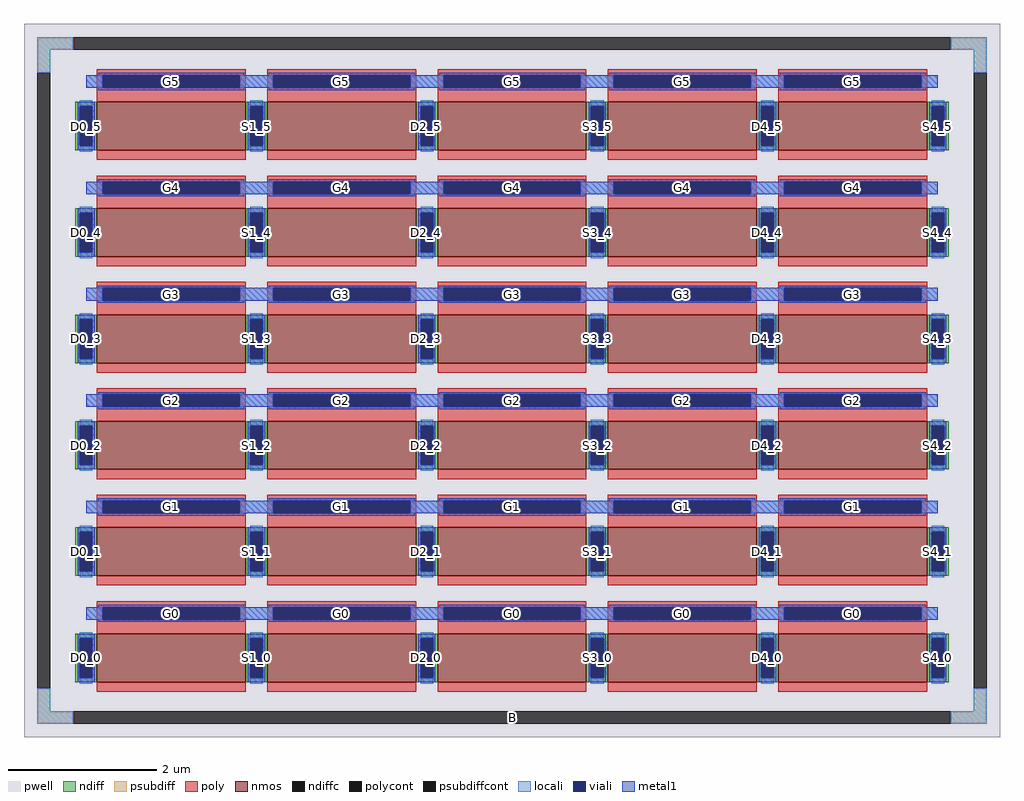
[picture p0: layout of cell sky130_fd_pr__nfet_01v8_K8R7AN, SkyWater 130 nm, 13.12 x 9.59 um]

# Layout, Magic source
magic
tech sky130A
magscale 1 2
<< pwell >>
rect -1312 -959 1312 959
<< nmos >>
rect -1116 619 -716 749
rect -658 619 -258 749
rect -200 619 200 749
rect 258 619 658 749
rect 716 619 1116 749
rect -1116 333 -716 463
rect -658 333 -258 463
rect -200 333 200 463
rect 258 333 658 463
rect 716 333 1116 463
rect -1116 47 -716 177
rect -658 47 -258 177
rect -200 47 200 177
rect 258 47 658 177
rect 716 47 1116 177
rect -1116 -239 -716 -109
rect -658 -239 -258 -109
rect -200 -239 200 -109
rect 258 -239 658 -109
rect 716 -239 1116 -109
rect -1116 -525 -716 -395
rect -658 -525 -258 -395
rect -200 -525 200 -395
rect 258 -525 658 -395
rect 716 -525 1116 -395
rect -1116 -811 -716 -681
rect -658 -811 -258 -681
rect -200 -811 200 -681
rect 258 -811 658 -681
rect 716 -811 1116 -681
<< ndiff >>
rect -1174 737 -1116 749
rect -1174 631 -1162 737
rect -1128 631 -1116 737
rect -1174 619 -1116 631
rect -716 737 -658 749
rect -716 631 -704 737
rect -670 631 -658 737
rect -716 619 -658 631
rect -258 737 -200 749
rect -258 631 -246 737
rect -212 631 -200 737
rect -258 619 -200 631
rect 200 737 258 749
rect 200 631 212 737
rect 246 631 258 737
rect 200 619 258 631
rect 658 737 716 749
rect 658 631 670 737
rect 704 631 716 737
rect 658 619 716 631
rect 1116 737 1174 749
rect 1116 631 1128 737
rect 1162 631 1174 737
rect 1116 619 1174 631
rect -1174 451 -1116 463
rect -1174 345 -1162 451
rect -1128 345 -1116 451
rect -1174 333 -1116 345
rect -716 451 -658 463
rect -716 345 -704 451
rect -670 345 -658 451
rect -716 333 -658 345
rect -258 451 -200 463
rect -258 345 -246 451
rect -212 345 -200 451
rect -258 333 -200 345
rect 200 451 258 463
rect 200 345 212 451
rect 246 345 258 451
rect 200 333 258 345
rect 658 451 716 463
rect 658 345 670 451
rect 704 345 716 451
rect 658 333 716 345
rect 1116 451 1174 463
rect 1116 345 1128 451
rect 1162 345 1174 451
rect 1116 333 1174 345
rect -1174 165 -1116 177
rect -1174 59 -1162 165
rect -1128 59 -1116 165
rect -1174 47 -1116 59
rect -716 165 -658 177
rect -716 59 -704 165
rect -670 59 -658 165
rect -716 47 -658 59
rect -258 165 -200 177
rect -258 59 -246 165
rect -212 59 -200 165
rect -258 47 -200 59
rect 200 165 258 177
rect 200 59 212 165
rect 246 59 258 165
rect 200 47 258 59
rect 658 165 716 177
rect 658 59 670 165
rect 704 59 716 165
rect 658 47 716 59
rect 1116 165 1174 177
rect 1116 59 1128 165
rect 1162 59 1174 165
rect 1116 47 1174 59
rect -1174 -121 -1116 -109
rect -1174 -227 -1162 -121
rect -1128 -227 -1116 -121
rect -1174 -239 -1116 -227
rect -716 -121 -658 -109
rect -716 -227 -704 -121
rect -670 -227 -658 -121
rect -716 -239 -658 -227
rect -258 -121 -200 -109
rect -258 -227 -246 -121
rect -212 -227 -200 -121
rect -258 -239 -200 -227
rect 200 -121 258 -109
rect 200 -227 212 -121
rect 246 -227 258 -121
rect 200 -239 258 -227
rect 658 -121 716 -109
rect 658 -227 670 -121
rect 704 -227 716 -121
rect 658 -239 716 -227
rect 1116 -121 1174 -109
rect 1116 -227 1128 -121
rect 1162 -227 1174 -121
rect 1116 -239 1174 -227
rect -1174 -407 -1116 -395
rect -1174 -513 -1162 -407
rect -1128 -513 -1116 -407
rect -1174 -525 -1116 -513
rect -716 -407 -658 -395
rect -716 -513 -704 -407
rect -670 -513 -658 -407
rect -716 -525 -658 -513
rect -258 -407 -200 -395
rect -258 -513 -246 -407
rect -212 -513 -200 -407
rect -258 -525 -200 -513
rect 200 -407 258 -395
rect 200 -513 212 -407
rect 246 -513 258 -407
rect 200 -525 258 -513
rect 658 -407 716 -395
rect 658 -513 670 -407
rect 704 -513 716 -407
rect 658 -525 716 -513
rect 1116 -407 1174 -395
rect 1116 -513 1128 -407
rect 1162 -513 1174 -407
rect 1116 -525 1174 -513
rect -1174 -693 -1116 -681
rect -1174 -799 -1162 -693
rect -1128 -799 -1116 -693
rect -1174 -811 -1116 -799
rect -716 -693 -658 -681
rect -716 -799 -704 -693
rect -670 -799 -658 -693
rect -716 -811 -658 -799
rect -258 -693 -200 -681
rect -258 -799 -246 -693
rect -212 -799 -200 -693
rect -258 -811 -200 -799
rect 200 -693 258 -681
rect 200 -799 212 -693
rect 246 -799 258 -693
rect 200 -811 258 -799
rect 658 -693 716 -681
rect 658 -799 670 -693
rect 704 -799 716 -693
rect 658 -811 716 -799
rect 1116 -693 1174 -681
rect 1116 -799 1128 -693
rect 1162 -799 1174 -693
rect 1116 -811 1174 -799
<< ndiffc >>
rect -1162 631 -1128 737
rect -704 631 -670 737
rect -246 631 -212 737
rect 212 631 246 737
rect 670 631 704 737
rect 1128 631 1162 737
rect -1162 345 -1128 451
rect -704 345 -670 451
rect -246 345 -212 451
rect 212 345 246 451
rect 670 345 704 451
rect 1128 345 1162 451
rect -1162 59 -1128 165
rect -704 59 -670 165
rect -246 59 -212 165
rect 212 59 246 165
rect 670 59 704 165
rect 1128 59 1162 165
rect -1162 -227 -1128 -121
rect -704 -227 -670 -121
rect -246 -227 -212 -121
rect 212 -227 246 -121
rect 670 -227 704 -121
rect 1128 -227 1162 -121
rect -1162 -513 -1128 -407
rect -704 -513 -670 -407
rect -246 -513 -212 -407
rect 212 -513 246 -407
rect 670 -513 704 -407
rect 1128 -513 1162 -407
rect -1162 -799 -1128 -693
rect -704 -799 -670 -693
rect -246 -799 -212 -693
rect 212 -799 246 -693
rect 670 -799 704 -693
rect 1128 -799 1162 -693
<< psubdiff >>
rect -1276 889 -1180 923
rect 1180 889 1276 923
rect -1276 827 -1242 889
rect 1242 827 1276 889
rect -1276 -889 -1242 -827
rect 1242 -889 1276 -827
rect -1276 -923 -1180 -889
rect 1180 -923 1276 -889
<< psubdiffcont >>
rect -1180 889 1180 923
rect -1276 -827 -1242 827
rect 1242 -827 1276 827
rect -1180 -923 1180 -889
<< poly >>
rect -1116 821 -716 837
rect -1116 787 -1100 821
rect -732 787 -716 821
rect -1116 749 -716 787
rect -658 821 -258 837
rect -658 787 -642 821
rect -274 787 -258 821
rect -658 749 -258 787
rect -200 821 200 837
rect -200 787 -184 821
rect 184 787 200 821
rect -200 749 200 787
rect 258 821 658 837
rect 258 787 274 821
rect 642 787 658 821
rect 258 749 658 787
rect 716 821 1116 837
rect 716 787 732 821
rect 1100 787 1116 821
rect 716 749 1116 787
rect -1116 593 -716 619
rect -658 593 -258 619
rect -200 593 200 619
rect 258 593 658 619
rect 716 593 1116 619
rect -1116 535 -716 551
rect -1116 501 -1100 535
rect -732 501 -716 535
rect -1116 463 -716 501
rect -658 535 -258 551
rect -658 501 -642 535
rect -274 501 -258 535
rect -658 463 -258 501
rect -200 535 200 551
rect -200 501 -184 535
rect 184 501 200 535
rect -200 463 200 501
rect 258 535 658 551
rect 258 501 274 535
rect 642 501 658 535
rect 258 463 658 501
rect 716 535 1116 551
rect 716 501 732 535
rect 1100 501 1116 535
rect 716 463 1116 501
rect -1116 307 -716 333
rect -658 307 -258 333
rect -200 307 200 333
rect 258 307 658 333
rect 716 307 1116 333
rect -1116 249 -716 265
rect -1116 215 -1100 249
rect -732 215 -716 249
rect -1116 177 -716 215
rect -658 249 -258 265
rect -658 215 -642 249
rect -274 215 -258 249
rect -658 177 -258 215
rect -200 249 200 265
rect -200 215 -184 249
rect 184 215 200 249
rect -200 177 200 215
rect 258 249 658 265
rect 258 215 274 249
rect 642 215 658 249
rect 258 177 658 215
rect 716 249 1116 265
rect 716 215 732 249
rect 1100 215 1116 249
rect 716 177 1116 215
rect -1116 21 -716 47
rect -658 21 -258 47
rect -200 21 200 47
rect 258 21 658 47
rect 716 21 1116 47
rect -1116 -37 -716 -21
rect -1116 -71 -1100 -37
rect -732 -71 -716 -37
rect -1116 -109 -716 -71
rect -658 -37 -258 -21
rect -658 -71 -642 -37
rect -274 -71 -258 -37
rect -658 -109 -258 -71
rect -200 -37 200 -21
rect -200 -71 -184 -37
rect 184 -71 200 -37
rect -200 -109 200 -71
rect 258 -37 658 -21
rect 258 -71 274 -37
rect 642 -71 658 -37
rect 258 -109 658 -71
rect 716 -37 1116 -21
rect 716 -71 732 -37
rect 1100 -71 1116 -37
rect 716 -109 1116 -71
rect -1116 -265 -716 -239
rect -658 -265 -258 -239
rect -200 -265 200 -239
rect 258 -265 658 -239
rect 716 -265 1116 -239
rect -1116 -323 -716 -307
rect -1116 -357 -1100 -323
rect -732 -357 -716 -323
rect -1116 -395 -716 -357
rect -658 -323 -258 -307
rect -658 -357 -642 -323
rect -274 -357 -258 -323
rect -658 -395 -258 -357
rect -200 -323 200 -307
rect -200 -357 -184 -323
rect 184 -357 200 -323
rect -200 -395 200 -357
rect 258 -323 658 -307
rect 258 -357 274 -323
rect 642 -357 658 -323
rect 258 -395 658 -357
rect 716 -323 1116 -307
rect 716 -357 732 -323
rect 1100 -357 1116 -323
rect 716 -395 1116 -357
rect -1116 -551 -716 -525
rect -658 -551 -258 -525
rect -200 -551 200 -525
rect 258 -551 658 -525
rect 716 -551 1116 -525
rect -1116 -609 -716 -593
rect -1116 -643 -1100 -609
rect -732 -643 -716 -609
rect -1116 -681 -716 -643
rect -658 -609 -258 -593
rect -658 -643 -642 -609
rect -274 -643 -258 -609
rect -658 -681 -258 -643
rect -200 -609 200 -593
rect -200 -643 -184 -609
rect 184 -643 200 -609
rect -200 -681 200 -643
rect 258 -609 658 -593
rect 258 -643 274 -609
rect 642 -643 658 -609
rect 258 -681 658 -643
rect 716 -609 1116 -593
rect 716 -643 732 -609
rect 1100 -643 1116 -609
rect 716 -681 1116 -643
rect -1116 -837 -716 -811
rect -658 -837 -258 -811
rect -200 -837 200 -811
rect 258 -837 658 -811
rect 716 -837 1116 -811
<< polycont >>
rect -1100 787 -732 821
rect -642 787 -274 821
rect -184 787 184 821
rect 274 787 642 821
rect 732 787 1100 821
rect -1100 501 -732 535
rect -642 501 -274 535
rect -184 501 184 535
rect 274 501 642 535
rect 732 501 1100 535
rect -1100 215 -732 249
rect -642 215 -274 249
rect -184 215 184 249
rect 274 215 642 249
rect 732 215 1100 249
rect -1100 -71 -732 -37
rect -642 -71 -274 -37
rect -184 -71 184 -37
rect 274 -71 642 -37
rect 732 -71 1100 -37
rect -1100 -357 -732 -323
rect -642 -357 -274 -323
rect -184 -357 184 -323
rect 274 -357 642 -323
rect 732 -357 1100 -323
rect -1100 -643 -732 -609
rect -642 -643 -274 -609
rect -184 -643 184 -609
rect 274 -643 642 -609
rect 732 -643 1100 -609
<< locali >>
rect -1276 889 -1180 923
rect 1180 889 1276 923
rect -1276 827 -1242 889
rect 1242 827 1276 889
rect -1145 787 -1100 821
rect -732 787 -642 821
rect -274 787 -184 821
rect 184 787 274 821
rect 642 787 732 821
rect 1100 787 1145 821
rect -1162 737 -1128 753
rect -1162 615 -1128 631
rect -704 737 -670 753
rect -704 615 -670 631
rect -246 737 -212 753
rect -246 615 -212 631
rect 212 737 246 753
rect 212 615 246 631
rect 670 737 704 753
rect 670 615 704 631
rect 1128 737 1162 753
rect 1128 615 1162 631
rect -1145 501 -1100 535
rect -732 501 -642 535
rect -274 501 -184 535
rect 184 501 274 535
rect 642 501 732 535
rect 1100 501 1145 535
rect -1162 451 -1128 467
rect -1162 329 -1128 345
rect -704 451 -670 467
rect -704 329 -670 345
rect -246 451 -212 467
rect -246 329 -212 345
rect 212 451 246 467
rect 212 329 246 345
rect 670 451 704 467
rect 670 329 704 345
rect 1128 451 1162 467
rect 1128 329 1162 345
rect -1145 215 -1100 249
rect -732 215 -642 249
rect -274 215 -184 249
rect 184 215 274 249
rect 642 215 732 249
rect 1100 215 1145 249
rect -1162 165 -1128 181
rect -1162 43 -1128 59
rect -704 165 -670 181
rect -704 43 -670 59
rect -246 165 -212 181
rect -246 43 -212 59
rect 212 165 246 181
rect 212 43 246 59
rect 670 165 704 181
rect 670 43 704 59
rect 1128 165 1162 181
rect 1128 43 1162 59
rect -1145 -71 -1100 -37
rect -732 -71 -642 -37
rect -274 -71 -184 -37
rect 184 -71 274 -37
rect 642 -71 732 -37
rect 1100 -71 1145 -37
rect -1162 -121 -1128 -105
rect -1162 -243 -1128 -227
rect -704 -121 -670 -105
rect -704 -243 -670 -227
rect -246 -121 -212 -105
rect -246 -243 -212 -227
rect 212 -121 246 -105
rect 212 -243 246 -227
rect 670 -121 704 -105
rect 670 -243 704 -227
rect 1128 -121 1162 -105
rect 1128 -243 1162 -227
rect -1145 -357 -1100 -323
rect -732 -357 -642 -323
rect -274 -357 -184 -323
rect 184 -357 274 -323
rect 642 -357 732 -323
rect 1100 -357 1145 -323
rect -1162 -407 -1128 -391
rect -1162 -529 -1128 -513
rect -704 -407 -670 -391
rect -704 -529 -670 -513
rect -246 -407 -212 -391
rect -246 -529 -212 -513
rect 212 -407 246 -391
rect 212 -529 246 -513
rect 670 -407 704 -391
rect 670 -529 704 -513
rect 1128 -407 1162 -391
rect 1128 -529 1162 -513
rect -1145 -643 -1100 -609
rect -732 -643 -642 -609
rect -274 -643 -184 -609
rect 184 -643 274 -609
rect 642 -643 732 -609
rect 1100 -643 1145 -609
rect -1162 -693 -1128 -677
rect -1162 -815 -1128 -799
rect -704 -693 -670 -677
rect -704 -815 -670 -799
rect -246 -693 -212 -677
rect -246 -815 -212 -799
rect 212 -693 246 -677
rect 212 -815 246 -799
rect 670 -693 704 -677
rect 670 -815 704 -799
rect 1128 -693 1162 -677
rect 1128 -815 1162 -799
rect -1276 -889 -1242 -827
rect 1242 -889 1276 -827
rect -1276 -923 -1180 -889
rect 1180 -923 1276 -889
<< viali >>
rect -1100 787 -732 821
rect -642 787 -274 821
rect -184 787 184 821
rect 274 787 642 821
rect 732 787 1100 821
rect -1162 631 -1128 737
rect -704 631 -670 737
rect -246 631 -212 737
rect 212 631 246 737
rect 670 631 704 737
rect 1128 631 1162 737
rect -1100 501 -732 535
rect -642 501 -274 535
rect -184 501 184 535
rect 274 501 642 535
rect 732 501 1100 535
rect -1162 345 -1128 451
rect -704 345 -670 451
rect -246 345 -212 451
rect 212 345 246 451
rect 670 345 704 451
rect 1128 345 1162 451
rect -1100 215 -732 249
rect -642 215 -274 249
rect -184 215 184 249
rect 274 215 642 249
rect 732 215 1100 249
rect -1162 59 -1128 165
rect -704 59 -670 165
rect -246 59 -212 165
rect 212 59 246 165
rect 670 59 704 165
rect 1128 59 1162 165
rect -1100 -71 -732 -37
rect -642 -71 -274 -37
rect -184 -71 184 -37
rect 274 -71 642 -37
rect 732 -71 1100 -37
rect -1162 -227 -1128 -121
rect -704 -227 -670 -121
rect -246 -227 -212 -121
rect 212 -227 246 -121
rect 670 -227 704 -121
rect 1128 -227 1162 -121
rect -1100 -357 -732 -323
rect -642 -357 -274 -323
rect -184 -357 184 -323
rect 274 -357 642 -323
rect 732 -357 1100 -323
rect -1162 -513 -1128 -407
rect -704 -513 -670 -407
rect -246 -513 -212 -407
rect 212 -513 246 -407
rect 670 -513 704 -407
rect 1128 -513 1162 -407
rect -1100 -643 -732 -609
rect -642 -643 -274 -609
rect -184 -643 184 -609
rect 274 -643 642 -609
rect 732 -643 1100 -609
rect -1162 -799 -1128 -693
rect -704 -799 -670 -693
rect -246 -799 -212 -693
rect 212 -799 246 -693
rect 670 -799 704 -693
rect 1128 -799 1162 -693
<< metal1 >>
rect -1112 821 -720 827
rect -654 821 -262 827
rect -196 821 196 827
rect 262 821 654 827
rect 720 821 1112 827
rect -1145 787 -1100 821
rect -732 787 -642 821
rect -274 787 -184 821
rect 184 787 274 821
rect 642 787 732 821
rect 1100 787 1145 821
rect -1112 781 -720 787
rect -654 781 -262 787
rect -196 781 196 787
rect 262 781 654 787
rect 720 781 1112 787
rect -1168 737 -1122 749
rect -1168 631 -1162 737
rect -1128 631 -1122 737
rect -1168 619 -1122 631
rect -710 737 -664 749
rect -710 631 -704 737
rect -670 631 -664 737
rect -710 619 -664 631
rect -252 737 -206 749
rect -252 631 -246 737
rect -212 631 -206 737
rect -252 619 -206 631
rect 206 737 252 749
rect 206 631 212 737
rect 246 631 252 737
rect 206 619 252 631
rect 664 737 710 749
rect 664 631 670 737
rect 704 631 710 737
rect 664 619 710 631
rect 1122 737 1168 749
rect 1122 631 1128 737
rect 1162 631 1168 737
rect 1122 619 1168 631
rect -1112 535 -720 541
rect -654 535 -262 541
rect -196 535 196 541
rect 262 535 654 541
rect 720 535 1112 541
rect -1145 501 -1100 535
rect -732 501 -642 535
rect -274 501 -184 535
rect 184 501 274 535
rect 642 501 732 535
rect 1100 501 1145 535
rect -1112 495 -720 501
rect -654 495 -262 501
rect -196 495 196 501
rect 262 495 654 501
rect 720 495 1112 501
rect -1168 451 -1122 463
rect -1168 345 -1162 451
rect -1128 345 -1122 451
rect -1168 333 -1122 345
rect -710 451 -664 463
rect -710 345 -704 451
rect -670 345 -664 451
rect -710 333 -664 345
rect -252 451 -206 463
rect -252 345 -246 451
rect -212 345 -206 451
rect -252 333 -206 345
rect 206 451 252 463
rect 206 345 212 451
rect 246 345 252 451
rect 206 333 252 345
rect 664 451 710 463
rect 664 345 670 451
rect 704 345 710 451
rect 664 333 710 345
rect 1122 451 1168 463
rect 1122 345 1128 451
rect 1162 345 1168 451
rect 1122 333 1168 345
rect -1112 249 -720 255
rect -654 249 -262 255
rect -196 249 196 255
rect 262 249 654 255
rect 720 249 1112 255
rect -1145 215 -1100 249
rect -732 215 -642 249
rect -274 215 -184 249
rect 184 215 274 249
rect 642 215 732 249
rect 1100 215 1145 249
rect -1112 209 -720 215
rect -654 209 -262 215
rect -196 209 196 215
rect 262 209 654 215
rect 720 209 1112 215
rect -1168 165 -1122 177
rect -1168 59 -1162 165
rect -1128 59 -1122 165
rect -1168 47 -1122 59
rect -710 165 -664 177
rect -710 59 -704 165
rect -670 59 -664 165
rect -710 47 -664 59
rect -252 165 -206 177
rect -252 59 -246 165
rect -212 59 -206 165
rect -252 47 -206 59
rect 206 165 252 177
rect 206 59 212 165
rect 246 59 252 165
rect 206 47 252 59
rect 664 165 710 177
rect 664 59 670 165
rect 704 59 710 165
rect 664 47 710 59
rect 1122 165 1168 177
rect 1122 59 1128 165
rect 1162 59 1168 165
rect 1122 47 1168 59
rect -1112 -37 -720 -31
rect -654 -37 -262 -31
rect -196 -37 196 -31
rect 262 -37 654 -31
rect 720 -37 1112 -31
rect -1145 -71 -1100 -37
rect -732 -71 -642 -37
rect -274 -71 -184 -37
rect 184 -71 274 -37
rect 642 -71 732 -37
rect 1100 -71 1145 -37
rect -1112 -77 -720 -71
rect -654 -77 -262 -71
rect -196 -77 196 -71
rect 262 -77 654 -71
rect 720 -77 1112 -71
rect -1168 -121 -1122 -109
rect -1168 -227 -1162 -121
rect -1128 -227 -1122 -121
rect -1168 -239 -1122 -227
rect -710 -121 -664 -109
rect -710 -227 -704 -121
rect -670 -227 -664 -121
rect -710 -239 -664 -227
rect -252 -121 -206 -109
rect -252 -227 -246 -121
rect -212 -227 -206 -121
rect -252 -239 -206 -227
rect 206 -121 252 -109
rect 206 -227 212 -121
rect 246 -227 252 -121
rect 206 -239 252 -227
rect 664 -121 710 -109
rect 664 -227 670 -121
rect 704 -227 710 -121
rect 664 -239 710 -227
rect 1122 -121 1168 -109
rect 1122 -227 1128 -121
rect 1162 -227 1168 -121
rect 1122 -239 1168 -227
rect -1112 -323 -720 -317
rect -654 -323 -262 -317
rect -196 -323 196 -317
rect 262 -323 654 -317
rect 720 -323 1112 -317
rect -1145 -357 -1100 -323
rect -732 -357 -642 -323
rect -274 -357 -184 -323
rect 184 -357 274 -323
rect 642 -357 732 -323
rect 1100 -357 1145 -323
rect -1112 -363 -720 -357
rect -654 -363 -262 -357
rect -196 -363 196 -357
rect 262 -363 654 -357
rect 720 -363 1112 -357
rect -1168 -407 -1122 -395
rect -1168 -513 -1162 -407
rect -1128 -513 -1122 -407
rect -1168 -525 -1122 -513
rect -710 -407 -664 -395
rect -710 -513 -704 -407
rect -670 -513 -664 -407
rect -710 -525 -664 -513
rect -252 -407 -206 -395
rect -252 -513 -246 -407
rect -212 -513 -206 -407
rect -252 -525 -206 -513
rect 206 -407 252 -395
rect 206 -513 212 -407
rect 246 -513 252 -407
rect 206 -525 252 -513
rect 664 -407 710 -395
rect 664 -513 670 -407
rect 704 -513 710 -407
rect 664 -525 710 -513
rect 1122 -407 1168 -395
rect 1122 -513 1128 -407
rect 1162 -513 1168 -407
rect 1122 -525 1168 -513
rect -1112 -609 -720 -603
rect -654 -609 -262 -603
rect -196 -609 196 -603
rect 262 -609 654 -603
rect 720 -609 1112 -603
rect -1145 -643 -1100 -609
rect -732 -643 -642 -609
rect -274 -643 -184 -609
rect 184 -643 274 -609
rect 642 -643 732 -609
rect 1100 -643 1145 -609
rect -1112 -649 -720 -643
rect -654 -649 -262 -643
rect -196 -649 196 -643
rect 262 -649 654 -643
rect 720 -649 1112 -643
rect -1168 -693 -1122 -681
rect -1168 -799 -1162 -693
rect -1128 -799 -1122 -693
rect -1168 -811 -1122 -799
rect -710 -693 -664 -681
rect -710 -799 -704 -693
rect -670 -799 -664 -693
rect -710 -811 -664 -799
rect -252 -693 -206 -681
rect -252 -799 -246 -693
rect -212 -799 -206 -693
rect -252 -811 -206 -799
rect 206 -693 252 -681
rect 206 -799 212 -693
rect 246 -799 252 -693
rect 206 -811 252 -799
rect 664 -693 710 -681
rect 664 -799 670 -693
rect 704 -799 710 -693
rect 664 -811 710 -799
rect 1122 -693 1168 -681
rect 1122 -799 1128 -693
rect 1162 -799 1168 -693
rect 1122 -811 1168 -799
<< labels >>
rlabel psubdiffcont 0 -906 0 -906 0 B
port 1 nsew
rlabel ndiffc -1145 -746 -1145 -746 0 D0_0
port 2 nsew
rlabel polycont -916 -626 -916 -626 0 G0
port 3 nsew
rlabel ndiffc -1145 -460 -1145 -460 0 D0_1
port 4 nsew
rlabel polycont -916 -340 -916 -340 0 G1
port 5 nsew
rlabel ndiffc -1145 -174 -1145 -174 0 D0_2
port 6 nsew
rlabel polycont -916 -54 -916 -54 0 G2
port 7 nsew
rlabel ndiffc -1145 112 -1145 112 0 D0_3
port 8 nsew
rlabel polycont -916 232 -916 232 0 G3
port 9 nsew
rlabel ndiffc -1145 398 -1145 398 0 D0_4
port 10 nsew
rlabel polycont -916 518 -916 518 0 G4
port 11 nsew
rlabel ndiffc -1145 684 -1145 684 0 D0_5
port 12 nsew
rlabel polycont -916 804 -916 804 0 G5
port 13 nsew
rlabel ndiffc -687 -746 -687 -746 0 S1_0
port 14 nsew
rlabel polycont -458 -626 -458 -626 0 G0
port 3 nsew
rlabel ndiffc -687 -460 -687 -460 0 S1_1
port 15 nsew
rlabel polycont -458 -340 -458 -340 0 G1
port 5 nsew
rlabel ndiffc -687 -174 -687 -174 0 S1_2
port 16 nsew
rlabel polycont -458 -54 -458 -54 0 G2
port 7 nsew
rlabel ndiffc -687 112 -687 112 0 S1_3
port 17 nsew
rlabel polycont -458 232 -458 232 0 G3
port 9 nsew
rlabel ndiffc -687 398 -687 398 0 S1_4
port 18 nsew
rlabel polycont -458 518 -458 518 0 G4
port 11 nsew
rlabel ndiffc -687 684 -687 684 0 S1_5
port 19 nsew
rlabel polycont -458 804 -458 804 0 G5
port 13 nsew
rlabel ndiffc -229 -746 -229 -746 0 D2_0
port 20 nsew
rlabel polycont 0 -626 0 -626 0 G0
port 3 nsew
rlabel ndiffc -229 -460 -229 -460 0 D2_1
port 21 nsew
rlabel polycont 0 -340 0 -340 0 G1
port 5 nsew
rlabel ndiffc -229 -174 -229 -174 0 D2_2
port 22 nsew
rlabel polycont 0 -54 0 -54 0 G2
port 7 nsew
rlabel ndiffc -229 112 -229 112 0 D2_3
port 23 nsew
rlabel polycont 0 232 0 232 0 G3
port 9 nsew
rlabel ndiffc -229 398 -229 398 0 D2_4
port 24 nsew
rlabel polycont 0 518 0 518 0 G4
port 11 nsew
rlabel ndiffc -229 684 -229 684 0 D2_5
port 25 nsew
rlabel polycont 0 804 0 804 0 G5
port 13 nsew
rlabel ndiffc 229 -746 229 -746 0 S3_0
port 26 nsew
rlabel polycont 458 -626 458 -626 0 G0
port 3 nsew
rlabel ndiffc 229 -460 229 -460 0 S3_1
port 27 nsew
rlabel polycont 458 -340 458 -340 0 G1
port 5 nsew
rlabel ndiffc 229 -174 229 -174 0 S3_2
port 28 nsew
rlabel polycont 458 -54 458 -54 0 G2
port 7 nsew
rlabel ndiffc 229 112 229 112 0 S3_3
port 29 nsew
rlabel polycont 458 232 458 232 0 G3
port 9 nsew
rlabel ndiffc 229 398 229 398 0 S3_4
port 30 nsew
rlabel polycont 458 518 458 518 0 G4
port 11 nsew
rlabel ndiffc 229 684 229 684 0 S3_5
port 31 nsew
rlabel polycont 458 804 458 804 0 G5
port 13 nsew
rlabel ndiffc 687 -746 687 -746 0 D4_0
port 32 nsew
rlabel ndiffc 1145 -746 1145 -746 0 S4_0
port 33 nsew
rlabel polycont 916 -626 916 -626 0 G0
port 3 nsew
rlabel ndiffc 687 -460 687 -460 0 D4_1
port 34 nsew
rlabel ndiffc 1145 -460 1145 -460 0 S4_1
port 35 nsew
rlabel polycont 916 -340 916 -340 0 G1
port 5 nsew
rlabel ndiffc 687 -174 687 -174 0 D4_2
port 36 nsew
rlabel ndiffc 1145 -174 1145 -174 0 S4_2
port 37 nsew
rlabel polycont 916 -54 916 -54 0 G2
port 7 nsew
rlabel ndiffc 687 112 687 112 0 D4_3
port 38 nsew
rlabel ndiffc 1145 112 1145 112 0 S4_3
port 39 nsew
rlabel polycont 916 232 916 232 0 G3
port 9 nsew
rlabel ndiffc 687 398 687 398 0 D4_4
port 40 nsew
rlabel ndiffc 1145 398 1145 398 0 S4_4
port 41 nsew
rlabel polycont 916 518 916 518 0 G4
port 11 nsew
rlabel ndiffc 687 684 687 684 0 D4_5
port 42 nsew
rlabel ndiffc 1145 684 1145 684 0 S4_5
port 43 nsew
rlabel polycont 916 804 916 804 0 G5
port 13 nsew
<< properties >>
string FIXED_BBOX -2165 -906 1259 906
string gencell sky130_fd_pr__nfet_01v8
string library sky130
string parameters w .65 l 2 m 6 nf 5 diffcov 100 polycov 100 guard 1 glc 1 grc 1 gtc 1 gbc 1 tbcov 100 rlcov 100 topc 1 botc 0 poverlap 0 doverlap 1 lmin 0.15 wmin 0.42 class mosfet compatible {sky130_fd_pr__nfet_01v8 sky130_fd_pr__nfet_01v8_lvt  sky130_fd_bs_flash__special_sonosfet_star  sky130_fd_pr__nfet_g5v0d10v5 sky130_fd_pr__nfet_05v0_nvt  sky130_fd_pr__nfet_03v3_nvt} full_metal 1 conn_gates 1 viasrc 100 viadrn 100 viagate 100 viagb 0 viagr 0 viagl 0 viagt 0 doports 1
<< end >>
